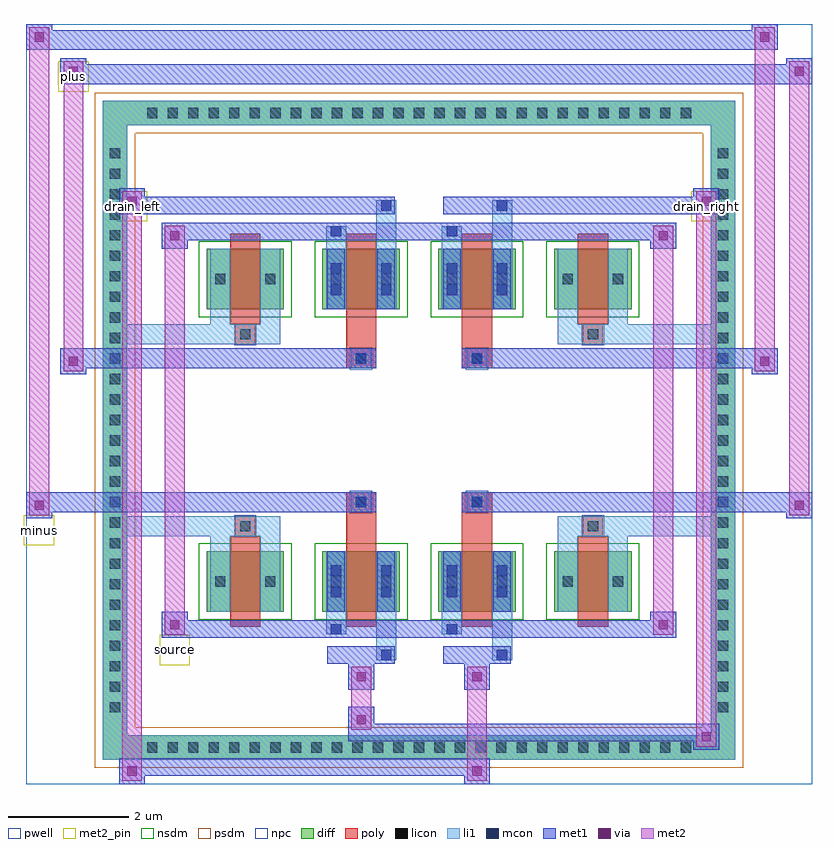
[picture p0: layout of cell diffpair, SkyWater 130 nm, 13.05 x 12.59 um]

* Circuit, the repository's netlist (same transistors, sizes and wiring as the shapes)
* NGSPICE file created from diffpair.ext - technology: sky130A

.subckt diffpair minus drain_right drain_left source plus
X0 drain_right minus source a_n1048_n1092# sky130_fd_pr__nfet_01v8 ad=0.39 pd=2.78 as=0.39 ps=2.78 w=1 l=0.5
X1 a_n1048_n1092# a_n1048_n1092# a_n1048_n1092# a_n1048_n1092# sky130_fd_pr__nfet_01v8 ad=0.39 pd=2.78 as=3.12 ps=22.24 w=1 l=0.5
X2 a_n1048_n1092# a_n1048_n1092# a_n1048_n1092# a_n1048_n1092# sky130_fd_pr__nfet_01v8 ad=0.39 pd=2.78 as=0 ps=0 w=1 l=0.5
X3 a_n1048_n1092# a_n1048_n1092# a_n1048_n1092# a_n1048_n1092# sky130_fd_pr__nfet_01v8 ad=0.39 pd=2.78 as=0 ps=0 w=1 l=0.5
X4 drain_left plus source a_n1048_n1092# sky130_fd_pr__nfet_01v8 ad=0.39 pd=2.78 as=0.39 ps=2.78 w=1 l=0.5
X5 a_n1048_n1092# a_n1048_n1092# a_n1048_n1092# a_n1048_n1092# sky130_fd_pr__nfet_01v8 ad=0.39 pd=2.78 as=0 ps=0 w=1 l=0.5
X6 drain_right minus source a_n1048_n1092# sky130_fd_pr__nfet_01v8 ad=0.39 pd=2.78 as=0.39 ps=2.78 w=1 l=0.5
X7 drain_left plus source a_n1048_n1092# sky130_fd_pr__nfet_01v8 ad=0.39 pd=2.78 as=0.39 ps=2.78 w=1 l=0.5
.ends

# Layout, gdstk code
import gdstk
lib = gdstk.Library(unit=1e-6, precision=5e-09)
def R(c, l, rs):  # rectangles x0, y0, x1, y1
    for r in rs: c.add(gdstk.rectangle(r[:2], r[2:], *l))
def A(c, l, x, y, w, h, nx, ny, dx, dy):  # array of equal rectangles
    R(c, l, [(x+i*dx, y+j*dy, x+i*dx+w, y+j*dy+h) for i in range(nx) for j in range(ny)])
def P(c, l, *ps):  # polygons
    for p in ps: c.add(gdstk.Polygon(p, *l))
pwell = (64, 44)
diff = (65, 20)
poly = (66, 20)
licon = (66, 44)
li1 = (67, 20)
mcon = (67, 44)
met1 = (68, 20)
via = (68, 44)
met2_pin = (69, 16)
met2 = (69, 20)
nsdm = (93, 44)
psdm = (94, 20)
npc = (95, 20)

diffpair = lib.new_cell('diffpair')
R(diffpair, pwell, [(-6.51,-5.86,6.51,6.73), (-3.83,-4.05,-0.01,-0.825), (0.01,-4.05,3.83,-0.825), (-3.83,0.825,-0.01,4.05), (0.01,0.825,3.83,4.05)])
A(diffpair, diff, -4.625, -5.46, 0.41, 0.41, 27, 2, 0.34, 10.51)
A(diffpair, diff, -5.24, -4.795, 0.41, 0.41, 1, 28, 0, 0.34)
A(diffpair, diff, 4.83, -4.795, 0.41, 0.41, 1, 28, 0, 0.34)
A(diffpair, diff, -3.52, -3.005, 1.28, 1, 4, 2, 1.92, 5.01)
R(diffpair, diff, [(-4.625,-5.46,4.625,-5.05), (-5.24,-4.795,-4.83,4.795), (4.83,-4.795,5.24,4.795), (-4.625,5.05,4.625,5.46)])
P(diffpair, diff, [(5.24,5.46),(-5.24,5.46),(-5.24,-5.05),(-4.83,-5.05),(-4.83,5.05),(4.83,5.05),(4.83,-5.05),(-4.83,-5.05),(-5.24,-5.05),(-5.24,-5.46),(5.24,-5.46)])
A(diffpair, poly, -3.13, -3.255, 0.5, 1.5, 4, 2, 1.92, 5.01)
R(diffpair, poly, [(-3.045,-1.755,-2.715,-1.425), (-3.045,-1.755,-2.715,-1.425), (-1.21,-1.755,-0.71,-1.355), (0.71,-1.755,1.21,-1.355), (2.715,-1.755,3.045,-1.425), (2.715,-1.755,3.045,-1.425), (-1.21,-1.355,-0.71,-1.025), (-1.125,-1.355,-0.795,-1.025), (0.71,-1.355,1.21,-1.025), (0.795,-1.355,1.125,-1.025), (-1.21,1.025,-0.71,1.355), (-1.125,1.025,-0.795,1.355), (0.71,1.025,1.21,1.355), (0.795,1.025,1.125,1.355), (-1.21,1.355,-0.71,1.755), (0.71,1.355,1.21,1.755), (-3.045,1.425,-2.715,1.755), (-3.045,1.425,-2.715,1.755), (2.715,1.425,3.045,1.755), (2.715,1.425,3.045,1.755)])
A(diffpair, licon, -4.505, -5.34, 0.17, 0.17, 27, 2, 0.34, 10.51)
A(diffpair, licon, -5.12, -4.675, 0.17, 0.17, 1, 28, 0, 0.34)
A(diffpair, licon, 4.95, -4.675, 0.17, 0.17, 1, 28, 0, 0.34)
R(diffpair, licon, [(-3.38,-2.59,-3.21,-2.42), (-2.55,-2.59,-2.38,-2.42), (-1.46,-2.59,-1.29,-2.42), (-0.63,-2.59,-0.46,-2.42), (0.46,-2.59,0.63,-2.42), (1.29,-2.59,1.46,-2.42), (2.38,-2.59,2.55,-2.42), (3.21,-2.59,3.38,-2.42), (-2.965,-1.675,-2.795,-1.505), (2.795,-1.675,2.965,-1.505), (-1.045,-1.275,-0.875,-1.105), (0.875,-1.275,1.045,-1.105), (-1.045,1.105,-0.875,1.275), (0.875,1.105,1.045,1.275), (-2.965,1.505,-2.795,1.675), (2.795,1.505,2.965,1.675), (-3.38,2.42,-3.21,2.59), (-2.55,2.42,-2.38,2.59), (-1.46,2.42,-1.29,2.59), (-0.63,2.42,-0.46,2.59), (0.46,2.42,0.63,2.59), (1.29,2.42,1.46,2.59), (2.38,2.42,2.55,2.59), (3.21,2.42,3.38,2.59)])
A(diffpair, li1, -4.585, -5.42, 0.33, 0.33, 27, 2, 0.34, 10.51)
A(diffpair, li1, -5.2, -4.755, 0.33, 0.33, 1, 28, 0, 0.34)
A(diffpair, li1, 4.87, -4.755, 0.33, 0.33, 1, 28, 0, 0.34)
R(diffpair, li1, [(-5.24,-5.46,-4.83,-5.05), (-5.24,-5.46,-4.83,-5.05), (-4.83,-5.46,4.83,-5.05), (4.83,-5.46,5.24,-5.05), (4.83,-5.46,5.24,-5.05), (-5.24,-5.05,-4.83,5.05), (4.83,-5.05,5.24,5.05), (-0.71,-3.81,-0.38,-3.005), (-0.63,-3.81,-0.46,-3.64), (1.21,-3.81,1.54,-3.005), (1.29,-3.81,1.46,-3.64), (-1.54,-3.38,-1.21,-3.005), (-1.46,-3.38,-1.29,-3.21), (0.38,-3.38,0.71,-3.005), (0.46,-3.38,0.63,-3.21), (-3.46,-3.005,-3.13,-2.005), (-2.63,-3.005,-2.3,-2.005), (-1.54,-3.005,-1.21,-2.005), (-0.71,-3.005,-0.38,-2.005), (0.38,-3.005,0.71,-2.005), (1.21,-3.005,1.54,-2.005), (2.3,-3.005,2.63,-2.005), (3.13,-3.005,3.46,-2.005), (-1.46,-2.77,-1.29,-2.6), (-1.46,-2.77,-1.29,-2.24), (-0.63,-2.77,-0.46,-2.6), (-0.63,-2.77,-0.46,-2.24), (0.46,-2.77,0.63,-2.6), (0.46,-2.77,0.63,-2.24), (1.29,-2.77,1.46,-2.6), (1.29,-2.77,1.46,-2.24), (-3.46,-2.67,-3.13,-2.34), (-2.63,-2.67,-2.3,-2.34), (-1.54,-2.67,-1.21,-2.34), (-0.71,-2.67,-0.38,-2.34), (0.38,-2.67,0.71,-2.34), (1.21,-2.67,1.54,-2.34), (2.3,-2.67,2.63,-2.34), (3.13,-2.67,3.46,-2.34), (-1.46,-2.41,-1.29,-2.24), (-0.63,-2.41,-0.46,-2.24), (0.46,-2.41,0.63,-2.24), (1.29,-2.41,1.46,-2.24), (-3.46,-2.005,-3.13,-1.425), (-2.63,-2.005,-2.3,-1.425), (2.3,-2.005,2.63,-1.425), (3.13,-2.005,3.46,-1.425), (-5.24,-1.755,-3.045,-1.425), (-3.46,-1.755,-3.045,-1.425), (-3.045,-1.755,-2.715,-1.425), (-2.715,-1.755,-2.3,-1.425), (2.3,-1.755,2.715,-1.425), (2.715,-1.755,3.045,-1.425), (2.715,-1.755,5.24,-1.425), (3.045,-1.755,3.46,-1.425), (-1.125,-1.355,-0.795,-1.025), (0.795,-1.355,1.125,-1.025), (-1.125,1.025,-0.795,1.355), (0.795,1.025,1.125,1.355), (-5.24,1.425,-3.045,1.755), (-3.46,1.425,-3.045,1.755), (-3.46,1.425,-3.13,2.005), (-3.045,1.425,-2.715,1.755), (-2.715,1.425,-2.3,1.755), (-2.63,1.425,-2.3,2.005), (2.3,1.425,2.715,1.755), (2.3,1.425,2.63,2.005), (2.715,1.425,3.045,1.755), (2.715,1.425,5.24,1.755), (3.045,1.425,3.46,1.755), (3.13,1.425,3.46,2.005), (-3.46,2.005,-3.13,3.005), (-2.63,2.005,-2.3,3.005), (-1.54,2.005,-1.21,3.005), (-0.71,2.005,-0.38,3.005), (0.38,2.005,0.71,3.005), (1.21,2.005,1.54,3.005), (2.3,2.005,2.63,3.005), (3.13,2.005,3.46,3.005), (-1.46,2.24,-1.29,2.41), (-1.46,2.24,-1.29,2.77), (-0.63,2.24,-0.46,2.41), (-0.63,2.24,-0.46,2.77), (0.46,2.24,0.63,2.41), (0.46,2.24,0.63,2.77), (1.29,2.24,1.46,2.41), (1.29,2.24,1.46,2.77), (-3.46,2.34,-3.13,2.67), (-2.63,2.34,-2.3,2.67), (-1.54,2.34,-1.21,2.67), (-0.71,2.34,-0.38,2.67), (0.38,2.34,0.71,2.67), (1.21,2.34,1.54,2.67), (2.3,2.34,2.63,2.67), (3.13,2.34,3.46,2.67), (-1.46,2.6,-1.29,2.77), (-0.63,2.6,-0.46,2.77), (0.46,2.6,0.63,2.77), (1.29,2.6,1.46,2.77), (-1.54,3.005,-1.21,3.38), (-0.71,3.005,-0.38,3.81), (0.38,3.005,0.71,3.38), (1.21,3.005,1.54,3.81), (-1.46,3.21,-1.29,3.38), (0.46,3.21,0.63,3.38), (-0.63,3.64,-0.46,3.81), (1.29,3.64,1.46,3.81), (-5.24,5.05,-4.83,5.46), (-5.24,5.05,-4.83,5.46), (-4.83,5.05,4.83,5.46), (4.83,5.05,5.24,5.46), (4.83,5.05,5.24,5.46)])
R(diffpair, mcon, [(-0.63,-3.81,-0.46,-3.64), (1.29,-3.81,1.46,-3.64), (-1.46,-3.38,-1.29,-3.21), (0.46,-3.38,0.63,-3.21), (-1.46,-2.77,-1.29,-2.6), (-0.63,-2.77,-0.46,-2.6), (0.46,-2.77,0.63,-2.6), (1.29,-2.77,1.46,-2.6), (-1.46,-2.41,-1.29,-2.24), (-0.63,-2.41,-0.46,-2.24), (0.46,-2.41,0.63,-2.24), (1.29,-2.41,1.46,-2.24), (-1.045,-1.275,-0.875,-1.105), (0.875,-1.275,1.045,-1.105), (-1.045,1.105,-0.875,1.275), (0.875,1.105,1.045,1.275), (-1.46,2.24,-1.29,2.41), (-0.63,2.24,-0.46,2.41), (0.46,2.24,0.63,2.41), (1.29,2.24,1.46,2.41), (-1.46,2.6,-1.29,2.77), (-0.63,2.6,-0.46,2.77), (0.46,2.6,0.63,2.77), (1.29,2.6,1.46,2.77), (-1.46,3.21,-1.29,3.38), (0.46,3.21,0.63,3.38), (-0.63,3.64,-0.46,3.81), (1.29,3.64,1.46,3.81)])
R(diffpair, met1, [(-4.97,-5.86,-4.54,-5.43), (0.745,-5.86,1.175,-5.43), (-4.97,-5.72,1.175,-5.43), (4.54,-5.29,4.97,-4.86), (-1.175,-5.15,4.97,-4.86), (-1.175,-5.01,-0.745,-4.58), (-1.175,-4.3,-0.745,-3.87), (0.745,-4.3,1.175,-3.87), (-1.52,-3.87,-0.4,-3.58), (-0.69,-3.87,-0.4,-3.58), (0.4,-3.87,1.52,-3.58), (1.23,-3.87,1.52,-3.58), (-4.26,-3.44,-3.83,-3.01), (-4.26,-3.44,-1.52,-3.15), (-1.52,-3.44,-1.23,-3.15), (-1.52,-3.44,-0.4,-3.15), (-0.4,-3.44,0.4,-3.15), (0.4,-3.44,0.69,-3.15), (0.4,-3.44,1.52,-3.15), (1.52,-3.44,4.26,-3.15), (3.83,-3.44,4.26,-3.01), (-1.52,-3.005,-1.23,-2.005), (-0.69,-3.005,-0.4,-2.005), (0.4,-3.005,0.69,-2.005), (1.23,-3.005,1.52,-2.005), (-1.52,-2.83,-1.23,-2.54), (-0.69,-2.83,-0.4,-2.54), (0.4,-2.83,0.69,-2.54), (1.23,-2.83,1.52,-2.54), (-1.52,-2.47,-1.23,-2.18), (-0.69,-2.47,-0.4,-2.18), (0.4,-2.47,0.69,-2.18), (1.23,-2.47,1.52,-2.18), (-6.51,-1.455,-6.08,-1.025), (6.08,-1.455,6.51,-1.025), (-6.51,-1.355,-0.71,-1.025), (-1.21,-1.355,-0.71,-1.025), (0.71,-1.355,1.21,-1.025), (0.71,-1.355,6.51,-1.025), (-1.105,-1.335,-0.815,-1.045), (0.815,-1.335,1.105,-1.045), (-5.94,0.925,-5.51,1.355), (5.51,0.925,5.94,1.355), (-5.94,1.025,-1.21,1.355), (-1.21,1.025,-0.71,1.355), (0.71,1.025,1.21,1.355), (1.21,1.025,5.94,1.355), (-1.105,1.045,-0.815,1.335), (0.815,1.045,1.105,1.335), (-1.52,2.005,-1.23,3.005), (-0.69,2.005,-0.4,3.005), (0.4,2.005,0.69,3.005), (1.23,2.005,1.52,3.005), (-1.52,2.18,-1.23,2.47), (-0.69,2.18,-0.4,2.47), (0.4,2.18,0.69,2.47), (1.23,2.18,1.52,2.47), (-1.52,2.54,-1.23,2.83), (-0.69,2.54,-0.4,2.83), (0.4,2.54,0.69,2.83), (1.23,2.54,1.52,2.83), (-4.26,3.01,-3.83,3.44), (3.83,3.01,4.26,3.44), (-4.26,3.15,-1.52,3.44), (-1.52,3.15,-1.23,3.44), (-1.52,3.15,-0.4,3.44), (-0.4,3.15,0.4,3.44), (0.4,3.15,0.69,3.44), (0.4,3.15,1.52,3.44), (1.52,3.15,4.26,3.44), (-4.97,3.58,-4.54,4.01), (-4.97,3.58,-1.52,3.87), (-1.52,3.58,-0.4,3.87), (-0.69,3.58,-0.4,3.87), (0.4,3.58,1.52,3.87), (1.23,3.58,1.52,3.87), (1.52,3.58,4.97,3.87), (4.54,3.58,4.97,4.01), (-5.94,5.73,-5.51,6.16), (-5.94,5.73,-3.83,6.06), (-3.83,5.73,3.83,6.06), (3.83,5.73,6.51,6.06), (6.08,5.73,6.51,6.16), (-6.51,6.3,-6.08,6.73), (-6.51,6.3,-3.83,6.63), (-3.83,6.3,3.83,6.63), (3.83,6.3,5.94,6.63), (5.51,6.3,5.94,6.73)])
R(diffpair, via, [(-4.83,-5.72,-4.68,-5.57), (0.885,-5.72,1.035,-5.57), (4.68,-5.15,4.83,-5), (-1.035,-4.87,-0.885,-4.72), (-1.035,-4.16,-0.885,-4.01), (0.885,-4.16,1.035,-4.01), (-4.12,-3.3,-3.97,-3.15), (3.97,-3.3,4.12,-3.15), (-6.37,-1.315,-6.22,-1.165), (6.22,-1.315,6.37,-1.165), (-5.8,1.065,-5.65,1.215), (5.65,1.065,5.8,1.215), (-4.12,3.15,-3.97,3.3), (3.97,3.15,4.12,3.3), (-4.83,3.72,-4.68,3.87), (4.68,3.72,4.83,3.87), (-5.8,5.87,-5.65,6.02), (6.22,5.87,6.37,6.02), (-6.37,6.44,-6.22,6.59), (5.65,6.44,5.8,6.59)])
R(diffpair, met2_pin, [(-4.295,-3.89,-3.795,-3.39), (-6.545,-1.905,-6.045,-1.405), (-5.005,3.46,-4.505,3.96), (4.505,3.46,5.005,3.96), (-5.975,5.61,-5.475,6.11)])
R(diffpair, met2, [(-4.92,-5.81,-4.59,-5.48), (-4.92,-5.81,-4.59,3.96), (0.795,-5.81,1.125,-5.48), (0.795,-5.48,1.125,-4.25), (4.59,-5.24,4.92,-4.91), (4.59,-5.24,4.92,3.96), (-1.125,-4.96,-0.795,-4.63), (-1.125,-4.63,-0.795,-4.25), (-1.125,-4.25,-0.795,-3.92), (0.795,-4.25,1.125,-3.92), (-4.21,-3.39,-3.88,-3.06), (-4.21,-3.39,-3.88,3.39), (3.88,-3.39,4.21,-3.06), (3.88,-3.39,4.21,3.39), (-6.46,-1.405,-6.13,-1.075), (-6.46,-1.405,-6.13,6.68), (6.13,-1.405,6.46,-1.075), (6.13,-1.405,6.46,6.11), (-5.89,0.975,-5.56,1.305), (-5.89,0.975,-5.56,6.11), (5.56,0.975,5.89,1.305), (5.56,0.975,5.89,6.68), (-4.21,3.06,-3.88,3.39), (3.88,3.06,4.21,3.39), (-4.92,3.63,-4.59,3.96), (4.59,3.63,4.92,3.96), (-5.89,5.78,-5.56,6.11), (6.13,5.78,6.46,6.11), (-6.46,6.35,-6.13,6.68), (5.56,6.35,5.89,6.68)])
P(diffpair, met2, [(6.46,-1.405),(6.46,-1.405),(6.46,-1.075),(6.46,-1.075)],
  [(6.46,5.78),(6.46,5.78),(6.46,6.11),(6.46,6.11)],
  [(-6.13,-1.405),(-6.13,-1.405),(-6.13,-1.075),(-6.13,-1.075)],
  [(-6.13,6.35),(-6.13,6.35),(-6.13,6.68),(-6.13,6.68)],
  [(5.89,0.975),(5.89,0.975),(5.89,1.305),(5.89,1.305)],
  [(5.89,6.35),(5.89,6.35),(5.89,6.68),(5.89,6.68)],
  [(-5.56,0.975),(-5.56,0.975),(-5.56,1.305),(-5.56,1.305)],
  [(-5.56,5.78),(-5.56,5.78),(-5.56,6.11),(-5.56,6.11)],
  [(-4.59,-5.81),(-4.59,-5.81),(-4.59,-5.48),(-4.59,-5.48)],
  [(-4.59,3.63),(-4.59,3.63),(-4.59,3.96),(-4.59,3.96)],
  [(4.92,-5.24),(4.92,-5.24),(4.92,-4.91),(4.92,-4.91)],
  [(4.92,3.63),(4.92,3.63),(4.92,3.96),(4.92,3.96)],
  [(-3.88,-3.39),(-3.88,-3.39),(-3.88,-3.06),(-3.88,-3.06)],
  [(-3.88,3.06),(-3.88,3.06),(-3.88,3.39),(-3.88,3.39)],
  [(4.21,-3.39),(4.21,-3.39),(4.21,-3.06),(4.21,-3.06)],
  [(4.21,3.06),(4.21,3.06),(4.21,3.39),(4.21,3.39)])
A(diffpair, nsdm, -3.65, -3.135, 1.54, 1.26, 4, 2, 1.92, 5.01)
P(diffpair, psdm, [(5.37,5.59),(-5.37,5.59),(-5.37,-4.92),(-4.7,-4.92),(-4.7,4.92),(4.7,4.92),(4.7,-4.92),(-4.7,-4.92),(-5.37,-4.92),(-5.37,-5.59),(5.37,-5.59)])
R(diffpair, npc, [(-3.065,-1.775,-2.695,-1.405), (2.695,-1.775,3.065,-1.405), (-1.145,-1.375,-0.775,-1.005), (0.775,-1.375,1.145,-1.005), (-1.145,1.005,-0.775,1.375), (0.775,1.005,1.145,1.375), (-3.065,1.405,-2.695,1.775), (2.695,1.405,3.065,1.775)])
diffpair.add(gdstk.Label('minus', (-6.295,-1.655), layer=69, texttype=5))
diffpair.add(gdstk.Label('drain_right', (4.755,3.71), layer=69, texttype=5))
diffpair.add(gdstk.Label('drain_left', (-4.755,3.71), layer=69, texttype=5))
diffpair.add(gdstk.Label('source', (-4.045,-3.64), layer=69, texttype=5))
diffpair.add(gdstk.Label('plus', (-5.725,5.86), layer=69, texttype=5))

lib.write_gds('diffpair.gds')
